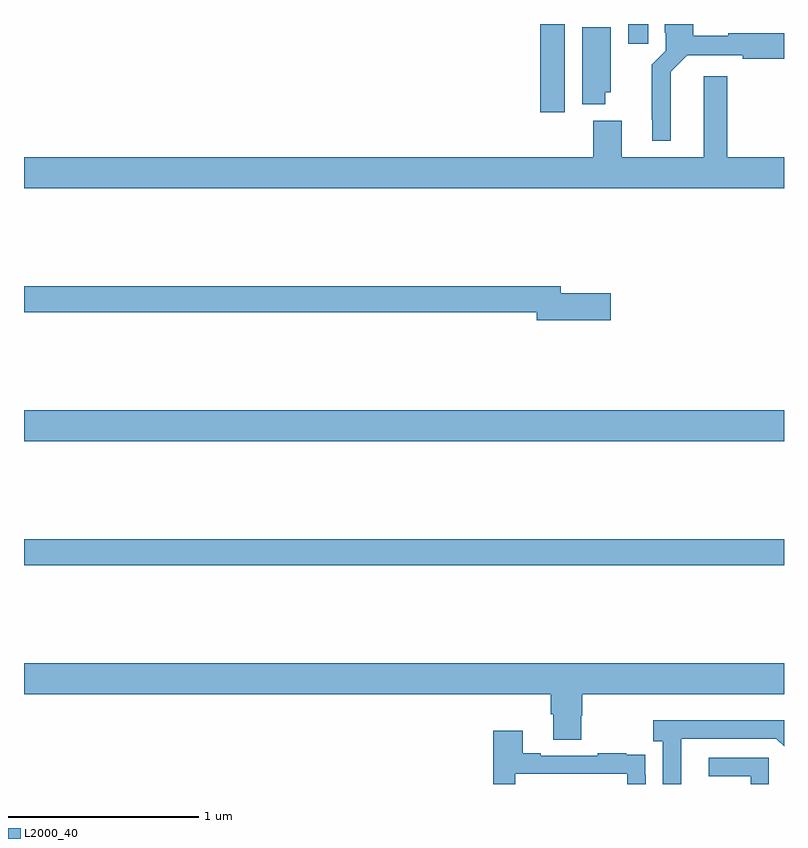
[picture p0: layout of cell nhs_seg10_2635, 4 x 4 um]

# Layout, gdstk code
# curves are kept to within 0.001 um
import gdstk
lib = gdstk.Library(unit=1e-6, precision=1e-09)
def R(c, l, rs):  # rectangles x0, y0, x1, y1
    for r in rs: c.add(gdstk.rectangle(r[:2], r[2:], *l))
def P(c, l, *ps):  # polygons
    for p in ps: c.add(gdstk.Polygon(p, *l))
L2000_40 = (2000, 40)

nhs_seg10_2635 = lib.new_cell('nhs_seg10_2635')
R(nhs_seg10_2635, L2000_40, [(253,1311.652,257,1311.788), (253,1312.304,257,1312.468), (255.716,1314.036,255.847,1314.5), (256.181,1314.396,256.285,1314.5)])
P(nhs_seg10_2635, L2000_40, [(256.405,1314.146),(256.404,1314.248),(256.492,1314.336),(256.783,1314.336),(256.783,1314.316),(257,1314.316),(257,1314.452),(256.706,1314.452),(256.706,1314.437),(256.523,1314.437),(256.523,1314.5),(256.373,1314.5),(256.373,1314.454),(256.377,1314.454),(256.377,1314.36),(256.303,1314.286),(256.303,1313.995),(256.307,1313.995),(256.307,1313.885),(256.405,1313.885)],
  [(256.06,1314.141),(256.087,1314.141),(256.087,1314.482),(255.938,1314.482),(255.938,1314.077),(256.06,1314.077)],
  [(257,1313.8),(256.7,1313.8),(256.7,1314.226),(256.577,1314.226),(256.577,1313.8),(256.147,1313.8),(256.147,1313.992),(255.995,1313.992),(255.995,1313.8),(253,1313.8),(253,1313.636),(257,1313.636)],
  [(256.087,1313.084),(255.826,1313.084),(255.826,1313.12),(253,1313.12),(253,1312.984),(255.698,1312.984),(255.698,1312.942),(256.087,1312.942)],
  [(255.933,1310.859),(255.938,1310.859),(255.938,1310.972),(257,1310.972),(257,1311.136),(253,1311.136),(253,1310.972),(255.773,1310.972),(255.773,1310.866),(255.785,1310.866),(255.785,1310.734),(255.933,1310.734)],
  [(256.458,1310.539),(256.459,1310.539),(256.459,1310.739),(256.959,1310.739),(257,1310.698),(257,1310.836),(256.311,1310.836),(256.311,1310.726),(256.362,1310.726),(256.362,1310.5),(256.458,1310.5)],
  [(255.585,1310.553),(256.176,1310.553),(256.176,1310.5),(256.272,1310.5),(256.272,1310.546),(256.271,1310.546),(256.271,1310.655),(256.169,1310.655),(256.169,1310.662),(256.021,1310.662),(256.021,1310.649),(255.721,1310.649),(255.721,1310.662),(255.625,1310.662),(255.625,1310.779),(255.469,1310.779),(255.469,1310.5),(255.585,1310.5)],
  [(256.92,1310.637),(256.605,1310.637),(256.605,1310.541),(256.824,1310.541),(256.824,1310.5),(256.92,1310.5)])

lib.write_gds('nhs_seg10_2635.gds')
